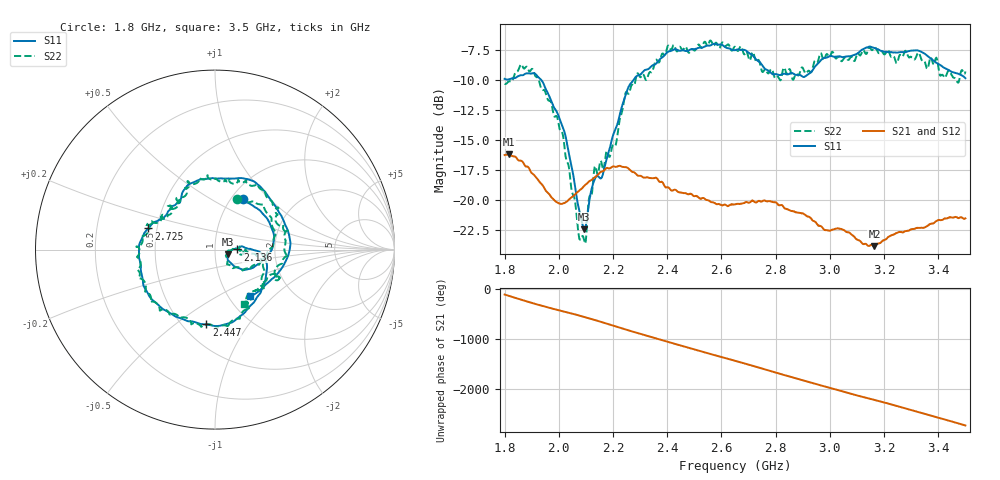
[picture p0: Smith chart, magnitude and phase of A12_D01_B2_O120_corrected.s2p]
! Created with skrf 1.9.0 (http://scikit-rf.org).
# Hz S RI R 50.0
!freq ReS11 ImS11 ReS21 ImS21 ReS12 ImS12 ReS22 ImS22
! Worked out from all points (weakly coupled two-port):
!   1601 points, 1.8 GHz to 3.5 GHz, reference 50 ohm
!   highest |S21| = -16.18 dB at 1.816 GHz (marker M1); lowest = -23.8 dB at 3.164 GHz (marker M2)
!   lowest |S11| = -22.4 dB at 2.093 GHz (marker M3), VSWR 1.16, Z = 57.6 - j2.86 ohm
!   |S11| at or under -10 dB: 1.936 GHz to 2.275 GHz (338 MHz wide, 16.1 % of centre)
!   |S22| runs from -23.6 to -6.7 dB; largest |S21 - S12| = 0.003
!   S11 on the Smith chart (normalised r, x): 1.8 GHz: 1.13, +0.71; 2.136 GHz: 1.28, +0.00; 2.447 GHz: 0.65, -0.66; 2.725 GHz: 0.45, +0.12; 3.5 GHz: 1.26, -0.72
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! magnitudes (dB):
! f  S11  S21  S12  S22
! 1.8 GHz  -9.9  -16.2  -16.2  -10.3
! 1.816 GHz  -9.9  -16.2  -16.2  -10.1
! 1.901 GHz  -9.4  -17.7  -17.7  -9.0
! 1.969 GHz  -11.5  -19.6  -19.7  -11.7
! 2.023 GHz  -14.5  -20.2  -20.2  -16.0
! 2.084 GHz  -21.7  -19.0  -19.0  -23.0
! 2.093 GHz  -22.4  -18.8  -18.9  -23.3
! 2.136 GHz  -18.1  -18.0  -18.0  -17.2
! 2.161 GHz  -17.9  -17.6  -17.5  -17.3
! 2.208 GHz  -14.1  -17.2  -17.2  -15.5
! 2.26 GHz  -10.4  -17.4  -17.4  -11.0
! 2.367 GHz  -8.4  -18.3  -18.3  -8.5
! 2.447 GHz  -7.5  -19.4  -19.3  -7.2
! 2.65 GHz  -7.5  -20.3  -20.3  -7.2
! 2.725 GHz  -8.2  -20.2  -20.2  -8.3
! 2.812 GHz  -9.5  -20.4  -20.3  -9.8
! 2.934 GHz  -9.2  -21.6  -21.6  -9.2
! 3.164 GHz  -7.3  -23.8  -23.8  -7.2
! 3.217 GHz  -7.6  -23.0  -23.0  -7.6
! 3.328 GHz  -7.5  -22.3  -22.3  -7.7
! 3.417 GHz  -8.9  -21.6  -21.6  -9.6
! 3.5 GHz  -9.8  -21.5  -21.5  -9.3
